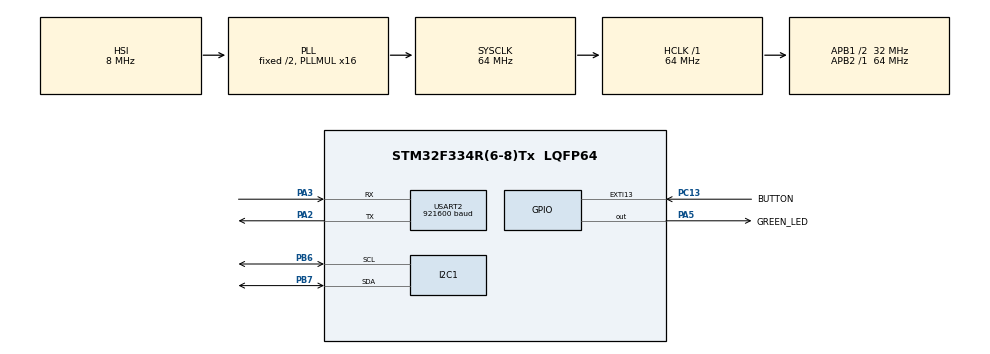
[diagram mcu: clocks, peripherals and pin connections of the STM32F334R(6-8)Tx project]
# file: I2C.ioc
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I2C1.Timing=0x10707DBC
Mcu.Family=STM32F3
Mcu.Name=STM32F334R(6-8)Tx
Mcu.Package=LQFP64
NVIC.EXTI15_10_IRQn=true\:0\:0\:false\:false\:false\:true\:false\:true
NVIC.PriorityGroup=NVIC_PRIORITYGROUP_0
NVIC.USART2_IRQn=true\:0\:0\:false\:false\:false\:true\:false\:true
PA2.Mode=Asynchronous
PA2.Signal=USART2_TX
PA3.Mode=Asynchronous
PA3.Signal=USART2_RX
PA5.GPIO_Label=GREEN_LED
PA5.Signal=GPIO_Output
PB6.GPIO_Pu=GPIO_PULLUP
PB6.Mode=I2C
PB6.Signal=I2C1_SCL
PB7.GPIO_Pu=GPIO_PULLUP
PB7.Mode=I2C
PB7.Signal=I2C1_SDA
PC13.GPIO_Label=BUTTON
PC13.GPIO_ModeDefaultEXTI=GPIO_MODE_IT_FALLING
PC13.Signal=GPXTI13
ProjectManager.HeapSize=0x200
ProjectManager.StackSize=0x400
ProjectManager.TargetToolchain=STM32CubeIDE
RCC.AHBFreq_Value=64000000
RCC.APB1CLKDivider=RCC_HCLK_DIV2
RCC.APB1Freq_Value=32000000
RCC.APB1TimFreq_Value=64000000
RCC.APB2Freq_Value=64000000
RCC.APB2TimFreq_Value=64000000
RCC.CortexFreq_Value=64000000
RCC.FLatency-AdvancedSettings=FLASH_LATENCY_2
RCC.HCLKFreq_Value=64000000
RCC.HSE_VALUE=8000000
RCC.HSI_VALUE=8000000
RCC.I2c1ClockSelection=RCC_I2C1CLKSOURCE_SYSCLK
RCC.LSE_VALUE=32768
RCC.PLLMUL=RCC_PLL_MUL16
RCC.SYSCLKFreq_VALUE=64000000
RCC.SYSCLKSourceVirtual=RCC_SYSCLKSOURCE_PLLCLK
USART2.BaudRate=921600
USART2.VirtualMode-Asynchronous=VM_ASYNC
USART2.WordLength=WORDLENGTH_8B
board=NUCLEO-F334R8

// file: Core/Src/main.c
/* USER CODE BEGIN Header */
/**
  ******************************************************************************
  * @file           : main.c
  * @brief          : Main program body
  ******************************************************************************
  * @attention
  *
  * Copyright (c) 2024 STMicroelectronics.
  * All rights reserved.
  *
  * This software is licensed under terms that can be found in the LICENSE file
  * in the root directory of this software component.
  * If no LICENSE file comes with this software, it is provided AS-IS.
  *
  ******************************************************************************
  */
/* USER CODE END Header */
#include "main.h"

/* USER CODE BEGIN Includes */
#include "periph_i2c.h"
#include "periph_uart.h"
#include "mpu6050.h"

#include <stdio.h>
#include <stdbool.h>
#include <string.h>
/* USER CODE END Includes */

I2C_HandleTypeDef hi2c1;

UART_HandleTypeDef huart2;

/* USER CODE BEGIN PV */
static bool flag_s = false;

static const char it_works_s[] = "IT'S WORKING!\r\n";

/* USER CODE END PV */

void SystemClock_Config(void);
static void MX_GPIO_Init(void);
static void MX_USART2_UART_Init(void);
static void MX_I2C1_Init(void);
/* USER CODE BEGIN PFP */

void plot_accelerometer_axis(void);

/* USER CODE END PFP */

int main(void)
{
  /* USER CODE BEGIN 1 */
  uint16_t buffer_len = 0u;

  /* USER CODE END 1 */

  /* MCU Configuration--------------------------------------------------------*/

  /* Reset of all peripherals, Initializes the Flash interface and the Systick. */
  HAL_Init();

  /* Configure the system clock */
  SystemClock_Config();

  /* Initialize all configured peripherals */
  MX_GPIO_Init();
  MX_USART2_UART_Init();
  MX_I2C1_Init();
  /* USER CODE BEGIN 2 */

  if (periph_uart_init(&huart2) == false)
  {
	  assert(false);
  }

  if (periph_i2c_init(&hi2c1) == false)
  {
	  assert(false);
  }

  // small delay needed to allow UART to work properly. Still not exactly sure why.
  // This link has a theory but not a why: https://community.st.com/t5/stm32-mcus-products/uart-losing-the-first-byte/td-p/257397
  HAL_Delay(1);

  if(mpu6050_init() == true)
  {
	  char mpu6050_msg_s[] = "mpu6050 Detected\r\n";
	  buffer_len = strlen(mpu6050_msg_s);
	  periph_uart_send_tx_data(mpu6050_msg_s, buffer_len);
  }

  /* USER CODE END 2 */

  /* Infinite loop */
  while (1)
  {

    /* USER CODE BEGIN 3 */
	  // Code kept in place from the Interrupt tutorial. Operated by pressing the user button.
	  if (flag_s == true)
	  {
		  buffer_len = strlen(it_works_s);
		  periph_uart_send_tx_data(it_works_s, buffer_len);
		  flag_s = false;
	  }

	  plot_accelerometer_axis();
	  HAL_Delay(250);
  }
  /* USER CODE END 3 */
}

void SystemClock_Config(void)
{
  RCC_OscInitTypeDef RCC_OscInitStruct = {0};
  RCC_ClkInitTypeDef RCC_ClkInitStruct = {0};
  RCC_PeriphCLKInitTypeDef PeriphClkInit = {0};

  /** Initializes the RCC Oscillators according to the specified parameters
  * in the RCC_OscInitTypeDef structure.
  */
  RCC_OscInitStruct.OscillatorType = RCC_OSCILLATORTYPE_HSI;
  RCC_OscInitStruct.HSIState = RCC_HSI_ON;
  RCC_OscInitStruct.HSICalibrationValue = RCC_HSICALIBRATION_DEFAULT;
  RCC_OscInitStruct.PLL.PLLState = RCC_PLL_ON;
  RCC_OscInitStruct.PLL.PLLSource = RCC_PLLSOURCE_HSI;
  RCC_OscInitStruct.PLL.PLLMUL = RCC_PLL_MUL16;
  if (HAL_RCC_OscConfig(&RCC_OscInitStruct) != HAL_OK)
  {
    Error_Handler();
  }

  /** Initializes the CPU, AHB and APB buses clocks
  */
  RCC_ClkInitStruct.ClockType = RCC_CLOCKTYPE_HCLK|RCC_CLOCKTYPE_SYSCLK
                              |RCC_CLOCKTYPE_PCLK1|RCC_CLOCKTYPE_PCLK2;
  RCC_ClkInitStruct.SYSCLKSource = RCC_SYSCLKSOURCE_PLLCLK;
  RCC_ClkInitStruct.AHBCLKDivider = RCC_SYSCLK_DIV1;
  RCC_ClkInitStruct.APB1CLKDivider = RCC_HCLK_DIV2;
  RCC_ClkInitStruct.APB2CLKDivider = RCC_HCLK_DIV1;

  if (HAL_RCC_ClockConfig(&RCC_ClkInitStruct, FLASH_LATENCY_2) != HAL_OK)
  {
    Error_Handler();
  }
  PeriphClkInit.PeriphClockSelection = RCC_PERIPHCLK_I2C1;
  PeriphClkInit.I2c1ClockSelection = RCC_I2C1CLKSOURCE_SYSCLK;
  if (HAL_RCCEx_PeriphCLKConfig(&PeriphClkInit) != HAL_OK)
  {
    Error_Handler();
  }
}

static void MX_I2C1_Init(void)
{

  hi2c1.Instance = I2C1;
  hi2c1.Init.Timing = 0x10707DBC;
  hi2c1.Init.OwnAddress1 = 0;
  hi2c1.Init.AddressingMode = I2C_ADDRESSINGMODE_7BIT;
  hi2c1.Init.DualAddressMode = I2C_DUALADDRESS_DISABLE;
  hi2c1.Init.OwnAddress2 = 0;
  hi2c1.Init.OwnAddress2Masks = I2C_OA2_NOMASK;
  hi2c1.Init.GeneralCallMode = I2C_GENERALCALL_DISABLE;
  hi2c1.Init.NoStretchMode = I2C_NOSTRETCH_DISABLE;
  if (HAL_I2C_Init(&hi2c1) != HAL_OK)
  {
    Error_Handler();
  }

  /** Configure Analogue filter
  */
  if (HAL_I2CEx_ConfigAnalogFilter(&hi2c1, I2C_ANALOGFILTER_ENABLE) != HAL_OK)
  {
    Error_Handler();
  }

  /** Configure Digital filter
  */
  if (HAL_I2CEx_ConfigDigitalFilter(&hi2c1, 0) != HAL_OK)
  {
    Error_Handler();
  }

}

static void MX_USART2_UART_Init(void)
{

  huart2.Instance = USART2;
  huart2.Init.BaudRate = 921600;
  huart2.Init.WordLength = UART_WORDLENGTH_8B;
  huart2.Init.StopBits = UART_STOPBITS_1;
  huart2.Init.Parity = UART_PARITY_NONE;
  huart2.Init.Mode = UART_MODE_TX_RX;
  huart2.Init.HwFlowCtl = UART_HWCONTROL_NONE;
  huart2.Init.OverSampling = UART_OVERSAMPLING_16;
  huart2.Init.OneBitSampling = UART_ONE_BIT_SAMPLE_DISABLE;
  huart2.AdvancedInit.AdvFeatureInit = UART_ADVFEATURE_NO_INIT;
  if (HAL_UART_Init(&huart2) != HAL_OK)
  {
    Error_Handler();
  }

}

static void MX_GPIO_Init(void)
{
  GPIO_InitTypeDef GPIO_InitStruct = {0};

  /* GPIO Ports Clock Enable */
  __HAL_RCC_GPIOC_CLK_ENABLE();
  __HAL_RCC_GPIOA_CLK_ENABLE();
  __HAL_RCC_GPIOB_CLK_ENABLE();

  /*Configure GPIO pin Output Level */
  HAL_GPIO_WritePin(GREEN_LED_GPIO_Port, GREEN_LED_Pin, GPIO_PIN_RESET);

  /*Configure GPIO pin : BUTTON_Pin */
  GPIO_InitStruct.Pin = BUTTON_Pin;
  GPIO_InitStruct.Mode = GPIO_MODE_IT_FALLING;
  GPIO_InitStruct.Pull = GPIO_NOPULL;
  HAL_GPIO_Init(BUTTON_GPIO_Port, &GPIO_InitStruct);

  /*Configure GPIO pin : GREEN_LED_Pin */
  GPIO_InitStruct.Pin = GREEN_LED_Pin;
  GPIO_InitStruct.Mode = GPIO_MODE_OUTPUT_PP;
  GPIO_InitStruct.Pull = GPIO_NOPULL;
  GPIO_InitStruct.Speed = GPIO_SPEED_FREQ_LOW;
  HAL_GPIO_Init(GREEN_LED_GPIO_Port, &GPIO_InitStruct);

  /* EXTI interrupt init*/
  HAL_NVIC_SetPriority(EXTI15_10_IRQn, 0, 0);
  HAL_NVIC_EnableIRQ(EXTI15_10_IRQn);

}

/* USER CODE BEGIN 4 */
/**
  * @brief This function handles EXTI line[15:10] interrupts.
  */
void EXTI15_10_IRQHandler(void)
{
  /* USER CODE BEGIN EXTI15_10_IRQn 0 */
	flag_s = true;
  /* USER CODE END EXTI15_10_IRQn 0 */
  HAL_GPIO_EXTI_IRQHandler(BUTTON_Pin);
  /* USER CODE BEGIN EXTI15_10_IRQn 1 */

  /* USER CODE END EXTI15_10_IRQn 1 */
}

// The following 3 functions are used for implementing the UART Interrupts.
// The first function is called when the UART receives data over the UART and subsequently routes to the callback function HAL_UART_RxCpltCallback.
// The callback function HAL_UART_RxCpltCallback can be used to process the UART Rx data.
/**
  * @brief This function handles USART2 global interrupt / USART2 wake-up interrupt through EXT line 26.
  */
void USART2_IRQHandler(void)
{
  /* USER CODE BEGIN USART2_IRQn 0 */

	// The interrupt handler for the UART must be added here for the interrupt callback functions to be processed.
	HAL_UART_IRQHandler(&huart2);

  /* USER CODE END USART2_IRQn 0 */
  /* USER CODE BEGIN USART2_IRQn 1 */

  /* USER CODE END USART2_IRQn 1 */
}

void HAL_UART_TxCpltCallback(UART_HandleTypeDef *huart)
{
	periph_uart_handle_tx_int_data(huart);
}

void HAL_UART_RxCpltCallback(UART_HandleTypeDef *huart)
{
	periph_uart_handle_rx_int_data(huart);
}

/*!
  * \brief Reads x, y and z accelerometer axis, formats the data into a string and prints the data over the uart.
  */
void plot_accelerometer_axis(void)
{
	uint16_t buffer_len = 0;
	char x_axis_string[MAX_BUFFER_LEN] = "";
	char y_axis_string[MAX_BUFFER_LEN] = "";
  char z_axis_string[MAX_BUFFER_LEN] = "";

	int16_t x_axis = mpu6050_get_x_axis_data();
	int16_t y_axis = mpu6050_get_y_axis_data();
	int16_t z_axis = mpu6050_get_z_axis_data();

	snprintf(x_axis_string, MAX_BUFFER_LEN, "x Axis %d    ", x_axis);
	snprintf(y_axis_string, MAX_BUFFER_LEN, "Y Axis %d    ", y_axis);
	snprintf(z_axis_string, MAX_BUFFER_LEN, "z Axis %d\r\n", z_axis);

	buffer_len = strlen(x_axis_string);
	periph_uart_send_tx_data(x_axis_string, buffer_len);
	buffer_len = strlen(y_axis_string);
	periph_uart_send_tx_data(y_axis_string, buffer_len);
	buffer_len = strlen(z_axis_string);
	periph_uart_send_tx_data(z_axis_string, buffer_len);
}
/* USER CODE END 4 */

void Error_Handler(void)
{
  __disable_irq();
  while (1)
  {
  }
}
